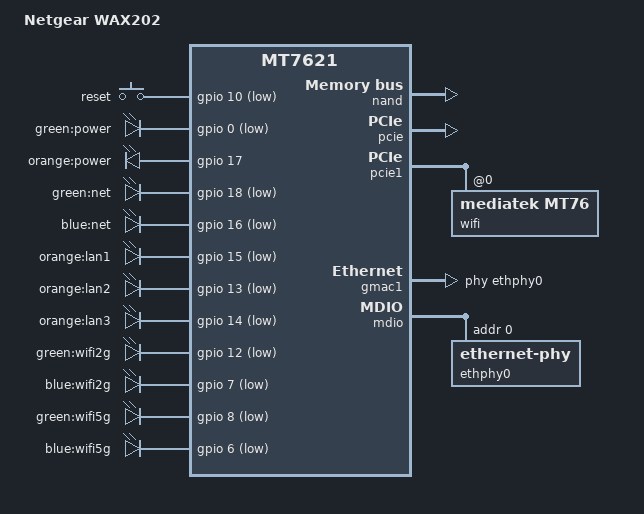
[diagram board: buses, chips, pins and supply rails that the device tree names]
// SPDX-License-Identifier: GPL-2.0-or-later OR MIT

#include "mt7621.dtsi"

#include <dt-bindings/gpio/gpio.h>
#include <dt-bindings/input/input.h>

/ {
	compatible = "netgear,wax202", "mediatek,mt7621-soc";
	model = "Netgear WAX202";

	aliases {
		led-boot = &led_power_green;
		led-failsafe = &led_power_orange;
		led-running = &led_power_green;
		led-upgrade = &led_power_orange;
	};

	chosen {
		bootargs = "console=ttyS0,115200";
	};

	keys {
		compatible = "gpio-keys";

		reset {
			label = "reset";
			gpios = <&gpio 10 GPIO_ACTIVE_LOW>;
			linux,code = <KEY_RESTART>;
		};
	};

	leds {
		compatible = "gpio-leds";

		led_power_green: power_green {
			label = "green:power";
			gpios = <&gpio 0 GPIO_ACTIVE_LOW>;
		};

		led_power_orange: power_orange {
			label = "orange:power";
			gpios = <&gpio 17 GPIO_ACTIVE_HIGH>;
		};

		led_net_green: net_green {
			label = "green:net";
			gpios = <&gpio 18 GPIO_ACTIVE_LOW>;
		};

		led_net_blue: net_blue {
			label = "blue:net";
			gpios = <&gpio 16 GPIO_ACTIVE_LOW>;
		};

		led_lan1_orange: lan1_orange {
			label = "orange:lan1";
			gpios = <&gpio 15 GPIO_ACTIVE_LOW>;
		};

		led_lan2_orange: lan2_orange {
			label = "orange:lan2";
			gpios = <&gpio 13 GPIO_ACTIVE_LOW>;
		};

		led_lan3_orange: lan3_orange {
			label = "orange:lan3";
			gpios = <&gpio 14 GPIO_ACTIVE_LOW>;
		};

		led_wifi2g_green: wifi2g_green {
			label = "green:wifi2g";
			gpios = <&gpio 12 GPIO_ACTIVE_LOW>;
			linux,default-trigger = "phy0radio";
		};

		led_wifi2g_blue: wifi2g_blue {
			label = "blue:wifi2g";
			gpios = <&gpio 7 GPIO_ACTIVE_LOW>;
		};

		led_wifi5g_green: wifi5g_green {
			label = "green:wifi5g";
			gpios = <&gpio 8 GPIO_ACTIVE_LOW>;
			linux,default-trigger = "phy1radio";
		};

		led_wifi5g_blue: wifi5g_blue {
			label = "blue:wifi5g";
			gpios = <&gpio 6 GPIO_ACTIVE_LOW>;
		};
	};
};

&nand {
	status = "okay";

	partitions {
		compatible = "fixed-partitions";
		#address-cells = <1>;
		#size-cells = <1>;

		partition@0 {
			label = "Bootloader";
			reg = <0x0 0x80000>;
			read-only;
		};

		partition@80000 {
			label = "Config";
			reg = <0x80000 0x80000>;
			read-only;
		};

		factory: partition@100000 {
			label = "Factory";
			reg = <0x100000 0x80000>;
			read-only;
		};

		partition@180000 {
			label = "firmware";
			reg = <0x180000 0x2600000>;

			compatible = "fixed-partitions";
			#address-cells = <1>;
			#size-cells = <1>;

			partition@0 {
				label = "kernel";
				reg = <0x0 0x400000>;
			};

			partition@400000 {
				label = "ubi";
				reg = <0x400000 0x2200000>;
			};
		};

		partition@2780000 {
			label = "firmware_backup";
			reg = <0x2780000 0x2600000>;
			read-only;
		};

		partition@4d80000 {
			label = "CFG";
			reg = <0x4d80000 0x800000>;
			read-only;
		};

		partition@5580000 {
			label = "RAE";
			reg = <0x5580000 0x400000>;
			read-only;
		};

		partition@5980000 {
			label = "POT";
			reg = <0x5980000 0x100000>;
			read-only;
		};

		partition@5a80000 {
			label = "Language";
			reg = <0x5a80000 0x400000>;
			read-only;
		};

		partition@5e80000 {
			label = "Traffic";
			reg = <0x5e80000 0x200000>;
			read-only;
		};

		partition@6080000 {
			label = "Cert";
			reg = <0x6080000 0x100000>;
			read-only;
		};

		partition@6180000 {
			label = "NTGRcryptK";
			reg = <0x6180000 0x100000>;
			read-only;
		};

		partition@6280000 {
			label = "NTGRcryptD";
			reg = <0x6280000 0x500000>;
			read-only;
		};

		partition@6780000 {
			label = "LOG";
			reg = <0x6780000 0x100000>;
			read-only;
		};

		partition@6880000 {
			label = "User_data";
			reg = <0x6880000 0x640000>;
			read-only;
		};
	};
};

&pcie {
	status = "okay";
};

&pcie1 {
	wifi@0,0 {
		compatible = "mediatek,mt76";
		reg = <0x0000 0 0 0 0>;
		mediatek,mtd-eeprom = <&factory 0x0>;
	};
};

&pcie2 {
	status = "disabled";
};

&state_default {
	gpio {
		groups = "uart3", "uart2", "jtag", "wdt";
		function = "gpio";
	};
};

&gmac1 {
	status = "okay";
	label = "wan";
	phy-handle = <&ethphy0>;
};

&mdio {
	ethphy0: ethernet-phy@0 {
		reg = <0>;
	};
};

&switch0 {
	ports {
		port@1 {
			status = "okay";
			label = "lan1";
		};

		port@2 {
			status = "okay";
			label = "lan2";
		};

		/* port@3 is not used */

		port@4 {
			status = "okay";
			label = "lan3";
		};
	};
};

&xhci {
	status = "disabled";
};
